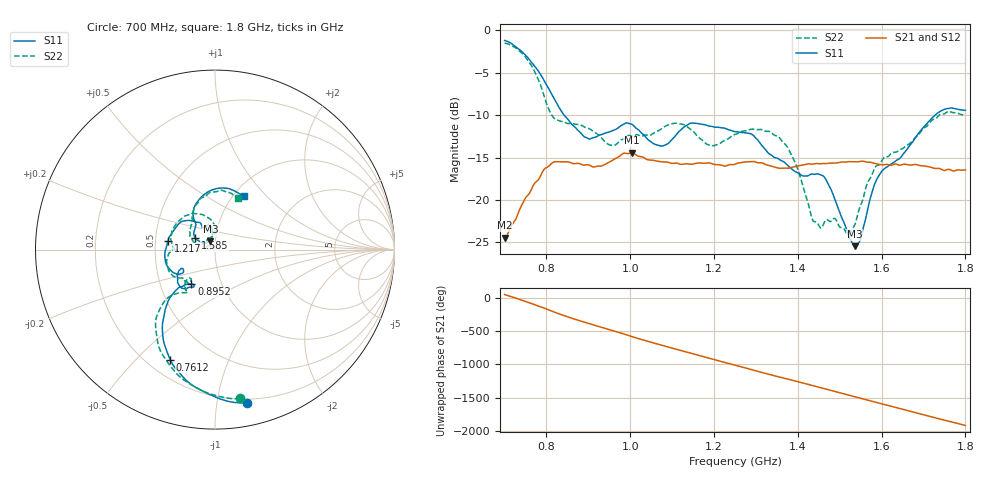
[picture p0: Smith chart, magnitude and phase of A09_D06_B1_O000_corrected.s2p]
! Created with skrf 1.9.0 (http://scikit-rf.org).
# Hz S RI R 50.0
!freq ReS11 ImS11 ReS21 ImS21 ReS12 ImS12 ReS22 ImS22
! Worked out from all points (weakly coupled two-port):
!   1601 points, 700 MHz to 1.8 GHz, reference 50 ohm
!   highest |S21| = -14.43 dB at 1.003 GHz (marker M1); lowest = -24.4 dB at 700.7 MHz (marker M2)
!   lowest |S11| = -25.5 dB at 1.535 GHz (marker M3), VSWR 1.11, Z = 47.3 + j4.46 ohm
!   |S11| at or under -10 dB: 842.3 MHz to 1.728 GHz (885.5 MHz wide, 68.9 % of centre)
!   |S22| runs from -24.1 to -1.5 dB; largest |S21 - S12| = 0.0034
!   S11 on the Smith chart (normalised r, x): 700 MHz: 0.17, -1.21; 761.2 MHz: 0.29, -0.63; 895.2 MHz: 0.72, -0.29; 1.217 GHz: 0.58, +0.06; 1.585 GHz: 0.80, +0.10; 1.8 GHz: 1.11, +0.75
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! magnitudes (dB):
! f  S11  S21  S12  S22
! 700 MHz  -1.2  -24.4  -24.2  -1.5
! 700.7 MHz  -1.2  -24.4  -24.1  -1.5
! 761.2 MHz  -3.6  -19.0  -18.9  -3.9
! 816.2 MHz  -7.8  -15.6  -15.6  -10.3
! 883.6 MHz  -12.2  -15.8  -15.7  -11.2
! 895.2 MHz  -12.7  -15.9  -15.9  -11.5
! 953.7 MHz  -11.9  -15.4  -15.4  -13.5
! 1.003 GHz  -11.1  -14.4  -14.6  -12.5
! 1.067 GHz  -13.6  -15.4  -15.4  -11.8
! 1.143 GHz  -11.0  -15.8  -15.8  -11.6
! 1.217 GHz  -11.5  -15.9  -15.9  -13.2
! 1.25 GHz  -11.9  -15.8  -15.7  -12.3
! 1.357 GHz  -15.2  -16.3  -16.2  -12.7
! 1.396 GHz  -16.7  -16.0  -16.0  -15.8
! 1.434 GHz  -16.9  -15.8  -15.7  -22.1
! 1.468 GHz  -17.7  -15.7  -15.7  -22.3
! 1.535 GHz  -25.5  -15.5  -15.5  -23.0
! 1.55 GHz  -24.5  -15.5  -15.5  -20.7
! 1.585 GHz  -17.9  -15.7  -15.7  -16.1
! 1.617 GHz  -16.0  -15.9  -15.8  -14.8
! 1.735 GHz  -9.7  -16.3  -16.3  -10.1
! 1.8 GHz  -9.4  -16.4  -16.4  -10.0
